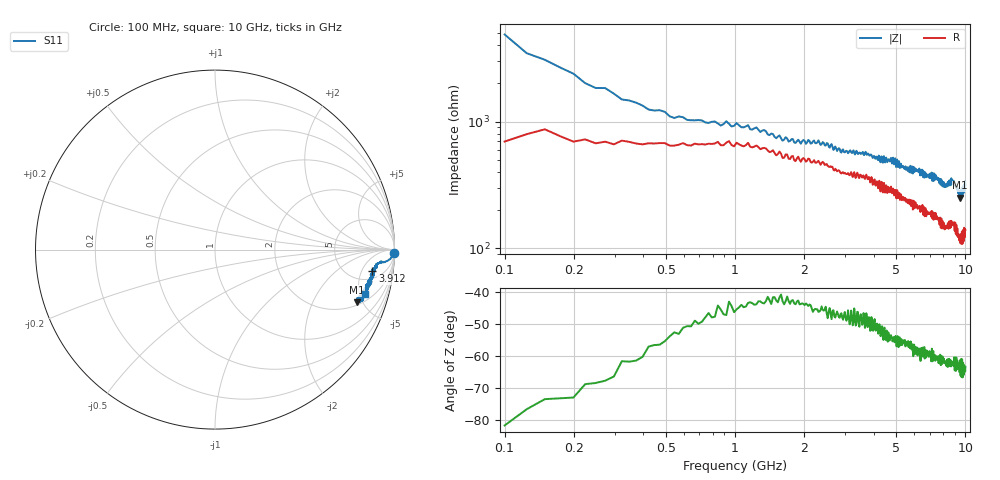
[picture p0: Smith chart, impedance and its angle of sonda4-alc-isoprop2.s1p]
!Keysight Technologies N9917A: A.12.46
!Date: Friday, 23 February 2024 20:45:34
!TimeZone: (UTC-03:00) Buenos Aires!Model: N9917A
!Serial: MY56072049
!GPS Latitude:
!GPS Longitude:
!GPS TimeStamp: 0001-01-01 00:00:00Z
!GPS Seconds Since Last Read: 0
!CHECKSUM:0437819687
!Correction: S11(ON U)
!S1P File: Measurement: S11:
# Hz S DB R 50
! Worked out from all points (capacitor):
!   401 points, 100 MHz to 10 GHz, reference 50 ohm
!   read as one part to ground: C = 360 fF near 149.5 MHz
!   lowest |Z| = 251 ohm at 9.505 GHz (marker M1)
!   S11 on the Smith chart (normalised r, x): 100 MHz: 14, -96; 3.912 GHz: 7, -8; 10 GHz: 2.80, -5.60
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1e8  -0.03 -1.2
2.7325e8  -0.18 -2.9
4.96e8  -0.41 -4.0
8.1775e8  -0.58 -4.3
1.3375e9  -0.73 -4.6
1.75825e9  -0.88 -5.4
2.575e9  -0.98 -6.5
3.04525e9  -0.96 -7.4
3.8125e9  -1.06 -7.8
3.9115e9  -1.06 -7.8
4.3075e9  -1.00 -8.8
4.9015e9  -1.07 -10.3
5.05e9  -0.99 -9.4
5.66875e9  -1.07 -11.1
6.2875e9  -1.03 -11.7
6.5845e9  -1.05 -12.3
7.0795e9  -1.24 -13.7
7.525e9  -1.16 -13.7
8.1685e9  -1.27 -15.9
8.7625e9  -1.21 -15.3
9.08425e9  -1.19 -16.9
9.3565e9  -1.32 -18.1
9.505e9  -1.48 -20.4
9.52975e9  -1.26 -19.2
9.57925e9  -1.54 -18.7
9.604e9  -1.41 -20.2
9.6535e9  -1.30 -17.1
1e10  -1.22 -16.4
